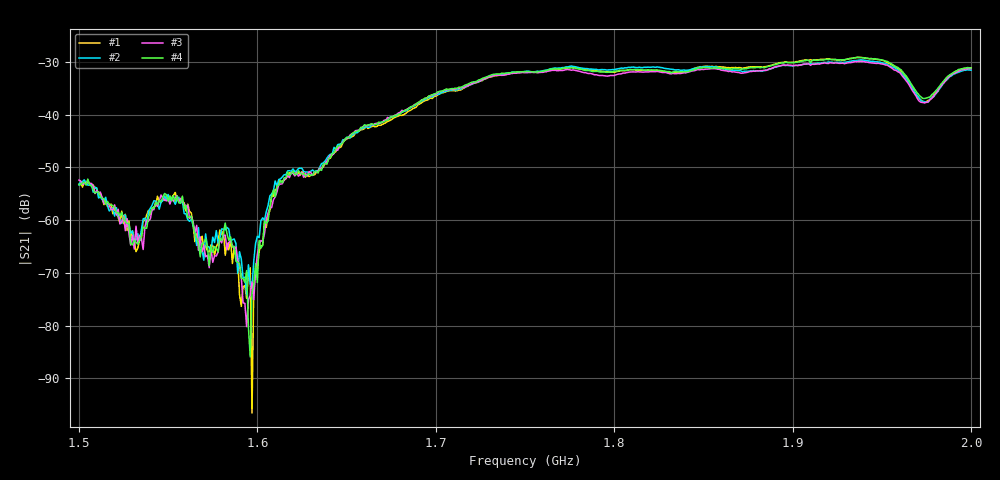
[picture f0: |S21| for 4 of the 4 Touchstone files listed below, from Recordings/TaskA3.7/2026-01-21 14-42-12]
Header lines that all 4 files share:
! NanoVNA-App by SYSJOINT et al v1.1.209 (+OD18)
! Start: 1,5GHz Stop: 2GHz Points: 501
! S-Parameter data: F S11 S21 S12 S22
# Hz S RI R 50
!  Frequency  S11_Real  S11_Imag  S21_Real  S21_Imag  S12_Real  S12_Imag  S22_Real  S22_Imag
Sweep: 1.5 GHz to 2 GHz
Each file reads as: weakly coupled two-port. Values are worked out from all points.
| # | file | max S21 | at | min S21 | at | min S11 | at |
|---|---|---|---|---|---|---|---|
| 1 | 0.s2p | -29.15 dB | 1.938 GHz | -96.6 dB | 1.597 GHz | -30.9 dB | 1.817 GHz |
| 2 | 1.s2p | -29.64 dB | 1.939 GHz | -74.2 dB | 1.594 GHz | -29.6 dB | 1.817 GHz |
| 3 | 2.s2p | -29.92 dB | 1.937 GHz | -80.2 dB | 1.594 GHz | -29.6 dB | 1.817 GHz |
| 4 | 3.s2p | -29.14 dB | 1.936 GHz | -85.9 dB | 1.596 GHz | -29.9 dB | 1.817 GHz |
